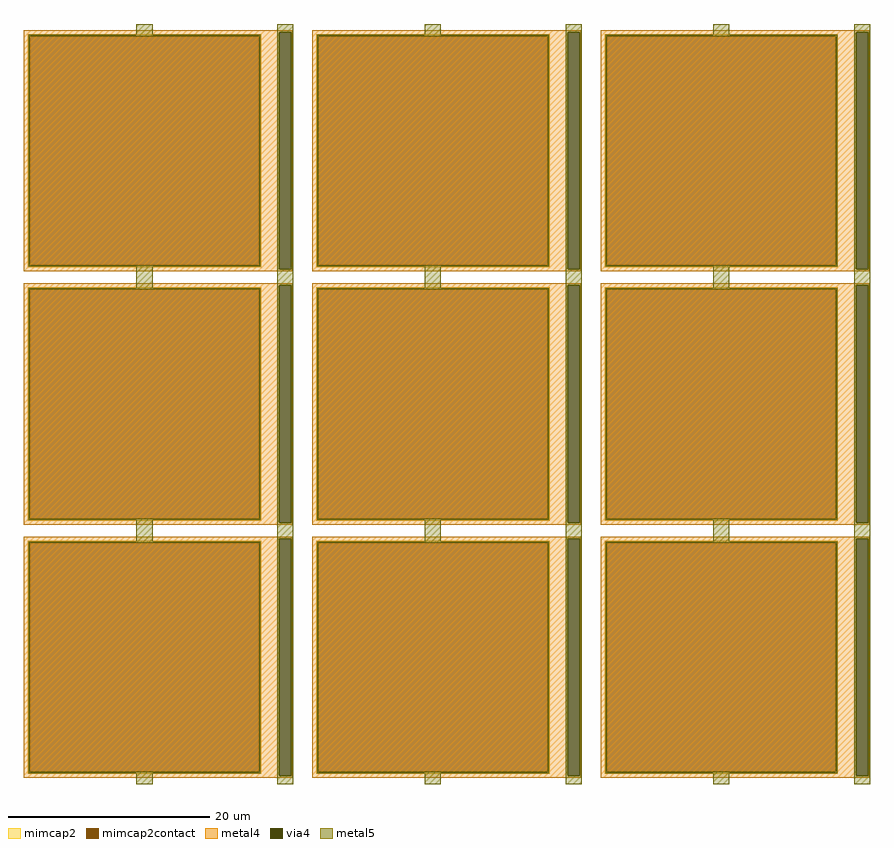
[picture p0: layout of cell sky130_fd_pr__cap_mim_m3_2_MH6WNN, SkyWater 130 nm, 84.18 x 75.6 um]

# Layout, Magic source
magic
tech sky130A
magscale 1 2
<< metal4 >>
rect -8407 7399 -3069 7440
rect -8407 2681 -3325 7399
rect -3089 2681 -3069 7399
rect -8407 2640 -3069 2681
rect -2669 7399 2669 7440
rect -2669 2681 2413 7399
rect 2649 2681 2669 7399
rect -2669 2640 2669 2681
rect 3069 7399 8407 7440
rect 3069 2681 8151 7399
rect 8387 2681 8407 7399
rect 3069 2640 8407 2681
rect -8407 2359 -3069 2400
rect -8407 -2359 -3325 2359
rect -3089 -2359 -3069 2359
rect -8407 -2400 -3069 -2359
rect -2669 2359 2669 2400
rect -2669 -2359 2413 2359
rect 2649 -2359 2669 2359
rect -2669 -2400 2669 -2359
rect 3069 2359 8407 2400
rect 3069 -2359 8151 2359
rect 8387 -2359 8407 2359
rect 3069 -2400 8407 -2359
rect -8407 -2681 -3069 -2640
rect -8407 -7399 -3325 -2681
rect -3089 -7399 -3069 -2681
rect -8407 -7440 -3069 -7399
rect -2669 -2681 2669 -2640
rect -2669 -7399 2413 -2681
rect 2649 -7399 2669 -2681
rect -2669 -7440 2669 -7399
rect 3069 -2681 8407 -2640
rect 3069 -7399 8151 -2681
rect 8387 -7399 8407 -2681
rect 3069 -7440 8407 -7399
<< via4 >>
rect -3325 2681 -3089 7399
rect 2413 2681 2649 7399
rect 8151 2681 8387 7399
rect -3325 -2359 -3089 2359
rect 2413 -2359 2649 2359
rect 8151 -2359 8387 2359
rect -3325 -7399 -3089 -2681
rect 2413 -7399 2649 -2681
rect 8151 -7399 8387 -2681
<< mimcap2 >>
rect -8327 7320 -3687 7360
rect -8327 2760 -8287 7320
rect -3727 2760 -3687 7320
rect -8327 2720 -3687 2760
rect -2589 7320 2051 7360
rect -2589 2760 -2549 7320
rect 2011 2760 2051 7320
rect -2589 2720 2051 2760
rect 3149 7320 7789 7360
rect 3149 2760 3189 7320
rect 7749 2760 7789 7320
rect 3149 2720 7789 2760
rect -8327 2280 -3687 2320
rect -8327 -2280 -8287 2280
rect -3727 -2280 -3687 2280
rect -8327 -2320 -3687 -2280
rect -2589 2280 2051 2320
rect -2589 -2280 -2549 2280
rect 2011 -2280 2051 2280
rect -2589 -2320 2051 -2280
rect 3149 2280 7789 2320
rect 3149 -2280 3189 2280
rect 7749 -2280 7789 2280
rect 3149 -2320 7789 -2280
rect -8327 -2760 -3687 -2720
rect -8327 -7320 -8287 -2760
rect -3727 -7320 -3687 -2760
rect -8327 -7360 -3687 -7320
rect -2589 -2760 2051 -2720
rect -2589 -7320 -2549 -2760
rect 2011 -7320 2051 -2760
rect -2589 -7360 2051 -7320
rect 3149 -2760 7789 -2720
rect 3149 -7320 3189 -2760
rect 7749 -7320 7789 -2760
rect 3149 -7360 7789 -7320
<< mimcap2contact >>
rect -8287 2760 -3727 7320
rect -2549 2760 2011 7320
rect 3189 2760 7749 7320
rect -8287 -2280 -3727 2280
rect -2549 -2280 2011 2280
rect 3189 -2280 7749 2280
rect -8287 -7320 -3727 -2760
rect -2549 -7320 2011 -2760
rect 3189 -7320 7749 -2760
<< metal5 >>
rect -6167 7344 -5847 7560
rect -3367 7399 -3047 7560
rect -8311 7320 -3703 7344
rect -8311 2760 -8287 7320
rect -3727 2760 -3703 7320
rect -8311 2736 -3703 2760
rect -6167 2304 -5847 2736
rect -3367 2681 -3325 7399
rect -3089 2681 -3047 7399
rect -429 7344 -109 7560
rect 2371 7399 2691 7560
rect -2573 7320 2035 7344
rect -2573 2760 -2549 7320
rect 2011 2760 2035 7320
rect -2573 2736 2035 2760
rect -3367 2359 -3047 2681
rect -8311 2280 -3703 2304
rect -8311 -2280 -8287 2280
rect -3727 -2280 -3703 2280
rect -8311 -2304 -3703 -2280
rect -6167 -2736 -5847 -2304
rect -3367 -2359 -3325 2359
rect -3089 -2359 -3047 2359
rect -429 2304 -109 2736
rect 2371 2681 2413 7399
rect 2649 2681 2691 7399
rect 5309 7344 5629 7560
rect 8109 7399 8429 7560
rect 3165 7320 7773 7344
rect 3165 2760 3189 7320
rect 7749 2760 7773 7320
rect 3165 2736 7773 2760
rect 2371 2359 2691 2681
rect -2573 2280 2035 2304
rect -2573 -2280 -2549 2280
rect 2011 -2280 2035 2280
rect -2573 -2304 2035 -2280
rect -3367 -2681 -3047 -2359
rect -8311 -2760 -3703 -2736
rect -8311 -7320 -8287 -2760
rect -3727 -7320 -3703 -2760
rect -8311 -7344 -3703 -7320
rect -6167 -7560 -5847 -7344
rect -3367 -7399 -3325 -2681
rect -3089 -7399 -3047 -2681
rect -429 -2736 -109 -2304
rect 2371 -2359 2413 2359
rect 2649 -2359 2691 2359
rect 5309 2304 5629 2736
rect 8109 2681 8151 7399
rect 8387 2681 8429 7399
rect 8109 2359 8429 2681
rect 3165 2280 7773 2304
rect 3165 -2280 3189 2280
rect 7749 -2280 7773 2280
rect 3165 -2304 7773 -2280
rect 2371 -2681 2691 -2359
rect -2573 -2760 2035 -2736
rect -2573 -7320 -2549 -2760
rect 2011 -7320 2035 -2760
rect -2573 -7344 2035 -7320
rect -3367 -7560 -3047 -7399
rect -429 -7560 -109 -7344
rect 2371 -7399 2413 -2681
rect 2649 -7399 2691 -2681
rect 5309 -2736 5629 -2304
rect 8109 -2359 8151 2359
rect 8387 -2359 8429 2359
rect 8109 -2681 8429 -2359
rect 3165 -2760 7773 -2736
rect 3165 -7320 3189 -2760
rect 7749 -7320 7773 -2760
rect 3165 -7344 7773 -7320
rect 2371 -7560 2691 -7399
rect 5309 -7560 5629 -7344
rect 8109 -7399 8151 -2681
rect 8387 -7399 8429 -2681
rect 8109 -7560 8429 -7399
<< properties >>
string FIXED_BBOX 3069 2640 7869 7440
string gencell sky130_fd_pr__cap_mim_m3_2
string library sky130
string parameters w 23.2 l 23.2 val 1.094k carea 2.00 cperi 0.19 nx 3 ny 3 dummy 0 square 0 lmin 2.00 wmin 2.00 lmax 30.0 wmax 30.0 dc 0 bconnect 1 tconnect 1 ccov 100
<< end >>
